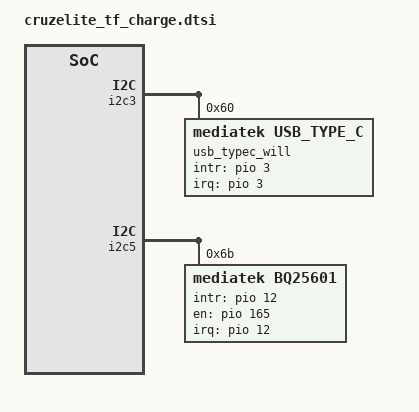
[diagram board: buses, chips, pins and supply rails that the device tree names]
// SPDX-License-Identifier: GPL-2.0+
&pe {
	status = "disabled";
};

&pe2 {
	status = "disabled";
};

&pe4 {
	status = "disabled";
};

&pdc {
	status = "disabled";
};

&mtk_charger_type {
	bc12_active = <1>;
};

&usb {
	charger = <&mtk_charger_type>;
};

&extcon_usb {
	charger = <&mtk_charger_type>;
	vbus-supply;
};

&lk_charger {
	/delete-property/enable_pe_plus;
	/delete-property/enable_pd20_reset;

	ac_charger_current = <500000>;
	charging_host_charger_current = <500000>;
	led_brightness = <127>;
	blinking_times = <6>;
	blinking_period = <1500>;
	temp_t4_threshold = <55>;
	temp_t1_threshold = <0>;
};

&charger {
	charger = <&mtk_charger_type>;
	/delete-property/enable_pe_plus;
	/delete-property/enable_pe_2;
	/delete-property/enable_pe_3;
	/delete-property/enable_pe_4;
	/delete-property/enable_type_c;
	/delete-property/enable_min_charge_temp;
	/delete-property/enable_dynamic_mivr;
	ac_charger_input_current = <2050000>;
	ac_charger_current = <2000000>;
	charging_host_charger_current = <1300000>;
	battery_cv = <4400000>;
	enable_sw_jeita;
	/* sw jeita */
	jeita_temp_above_t4_cv = <4100000>;
	jeita_temp_t3_to_t4_cv = <4100000>;
	jeita_temp_t2_to_t3_cv = <4400000>;
	jeita_temp_t1_to_t2_cv = <4400000>;
	jeita_temp_t0_to_t1_cv = <4400000>;
	jeita_temp_below_t0_cv = <4400000>;
	jeita_temp_above_t4_current = <0>;
	jeita_temp_t3_to_t4_current = <1150000>;
	jeita_temp_t2_to_t3_current = <1250000>;
	jeita_temp_t1_to_t2_current = <1150000>;
	jeita_temp_t0_to_t1_current = <1150000>;
	jeita_temp_below_t0_current = <0>;

	temp_t4_thres = <53>;
	temp_t4_thres_minus_x_degree = <51>;
	temp_t3_thres = <42>;
	temp_t3_thres_minus_x_degree = <43>;
	temp_t2_thres = <11>;
	temp_t2_thres_plus_x_degree = <10>;
	temp_t1_thres = <6>;
	temp_t1_thres_plus_x_degree = <5>;
	temp_t0_thres = <2>;
	temp_t0_thres_plus_x_degree = <1>;
	temp_neg_10_thres = <2>;

	enable_min_charge_temp;
	min_charge_temp = <1>;
	min_charge_temp_plus_x_degree = <2>;
	max_charge_temp = <53>;
	max_charge_temp_minus_x_degree = <51>;
};

&mt6370_pmu {
	status = "disabled";
};

&i2c3 {
	usb_typec_will:usb_type_c@60 {
		compatible = "mediatek,usb_type_c";
		reg = <0x60>;
		interrupt-parent = <&pio>;
		interrupts = <3 0>;
		wusb3801,intr_gpio = <&pio 3 0x0>;
		interrupt-names = "wusb3801_int_irq";
		status = "okay";
	};
};

&i2c5 {
	bq25601:bq25601@6B {
		compatible = "mediatek,bq25601";
		reg = <0x6B>;
		charger_name = "primary_chg";
		alias_name = "bq25601";
		interrupt-parent = <&pio>;
		interrupts = <12 0>;
		bq25601,intr_gpio = <&pio 12 0x0>;
		bq25601,en_gpio = <&pio 165 0x0>;
		status = "okay";
	};
};
